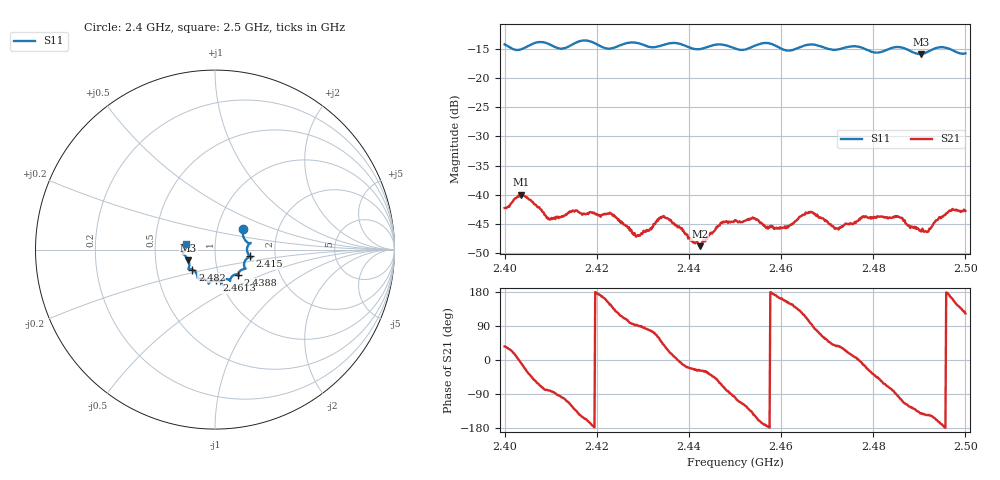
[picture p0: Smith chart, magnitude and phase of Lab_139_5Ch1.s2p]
# Hz S RI R 50
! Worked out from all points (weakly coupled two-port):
!   601 points, 2.4 GHz to 2.5 GHz, reference 50 ohm
!   highest |S21| = -39.97 dB at 2.4035 GHz (marker M1); lowest = -48.8 dB at 2.4423 GHz (marker M2)
!   lowest |S11| = -15.9 dB at 2.4903 GHz (marker M3), VSWR 1.38, Z = 36.8 - j4.45 ohm
!   |S11| at or under -10 dB: start of sweep to end of sweep
!   S12 and S22 are empty: the file has one direction only
!   S11 on the Smith chart (normalised r, x): 2.4 GHz: 1.33, +0.31; 2.415 GHz: 1.47, -0.11; 2.4388 GHz: 1.24, -0.36; 2.4613 GHz: 0.96, -0.34; 2.482 GHz: 0.76, -0.17; 2.5 GHz: 0.72, +0.05
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2.4e9  0.1579 0.1124  0.00625 0.0045  0 0  0 0
2.4035e9  0.1666 0.0553  0.00996 -0.00116  0 0  0 0
2.409667e9  0.1918 0.0331  0.00102 -0.00617  0 0  0 0
2.415e9  0.1926 -0.0361  -0.00447 -0.00573  0 0  0 0
2.416667e9  0.2035 -0.044  -0.00589 -0.00363  0 0  0 0
2.423167e9  0.1626 -0.0745  -0.0055 0.00417  0 0  0 0
2.428833e9  0.1683 -0.1063  -7.05e-05 0.00446  0 0  0 0
2.433333e9  0.1319 -0.1312  0.00299 0.00522  0 0  0 0
2.438833e9  0.1298 -0.1402  0.00481 -0.00108  0 0  0 0
2.442333e9  0.0965 -0.1479  0.0032 -0.00171  0 0  0 0
2.447333e9  0.0843 -0.1732  0.00211 -0.00546  0 0  0 0
2.45e9  0.069 -0.1648  -0.000909 -0.006  0 0  0 0
2.454e9  0.0346 -0.1833  -0.0051 -0.00364  0 0  0 0
2.456833e9  0.0385 -0.1954  -0.00516 -0.000532  0 0  0 0
2.461333e9  0.00762 -0.1714  -0.00477 0.00252  0 0  0 0
2.466667e9  -0.035 -0.1902  -0.00045 0.00704  0 0  0 0
2.472e9  -0.0663 -0.1614  0.00416 0.00307  0 0  0 0
2.482e9  -0.126 -0.1115  0.0034 -0.00556  0 0  0 0
2.483333e9  -0.1395 -0.1086  0.00199 -0.00598  0 0  0 0
2.490333e9  -0.1489 -0.0588  -0.00378 -0.00307  0 0  0 0
2.496833e9  -0.1751 -0.0127  -0.00706 0.00176  0 0  0 0
2.5e9  -0.1589 0.0325  -0.00393 0.00612  0 0  0 0
